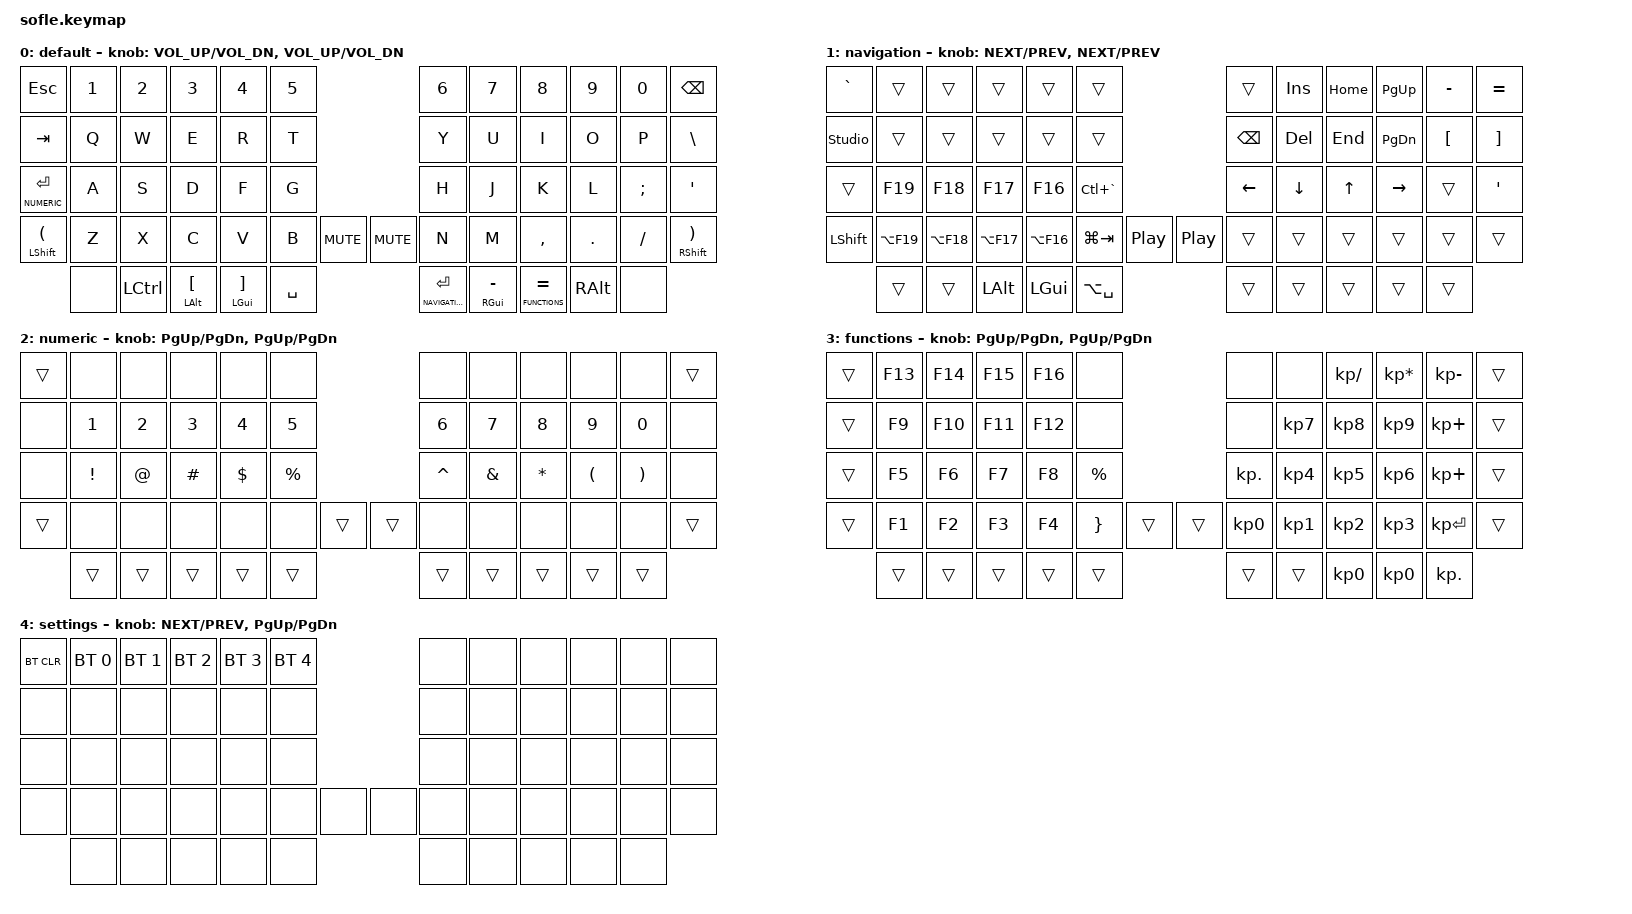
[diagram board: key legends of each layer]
/*
 * Copyright (c) 2020 The ZMK Contributors
 *
 * SPDX-License-Identifier: MIT
 */

#include <behaviors.dtsi>
#include <dt-bindings/zmk/keys.h>
#include <dt-bindings/zmk/bt.h>
#include <dt-bindings/zmk/rgb.h>
#include <dt-bindings/zmk/ext_power.h>

#define BASE 0
#define NAVIGATION 1
#define NUMERIC 2
#define FUNCTIONS 3
#define SETTINGS 4

/ {
     conditional_layers {
        compatible = "zmk,conditional-layers";
        adjust_layer {
            if-layers = <FUNCTIONS NAVIGATION>;
            then-layer = <SETTINGS>;
        };
    };

    keymap {
        compatible = "zmk,keymap";
        default_layer {
            display-name = "default";
            bindings = <
&kp ESC           &kp N1 &kp N2   &kp N3   &kp N4    &kp N5                                       &kp N6    &kp N7    &kp N8      &kp N9   &kp N0     &kp BSPC
&kp TAB           &kp Q  &kp W    &kp E    &kp R     &kp T                                        &kp Y     &kp U     &kp I       &kp O    &kp P      &kp BSLH
&lt NUMERIC RET   &kp A  &kp S    &kp D    &kp F     &kp G                                        &kp H     &kp J     &kp K       &kp L    &kp SEMI   &kp SQT
&mt LSHIFT LPAR   &kp Z  &kp X    &kp C    &kp V     &kp B      &kp C_MUTE   &kp C_MUTE           &kp N     &kp M     &kp COMMA   &kp DOT  &kp FSLH   &mt RSHIFT RPAR
             &none   &kp LCTRL   &mt LALT LBKT   &mt LGUI RBKT  &kp SPACE    &lt NAVIGATION RET  &mt RGUI MINUS  &lt FUNCTIONS EQUAL &kp RALT  &none
            >;
            sensor-bindings = <&inc_dec_kp C_VOL_UP C_VOL_DN &inc_dec_kp C_VOL_UP C_VOL_DN>;
        };

        navigation_layer {
            display-name = "navigation";
            bindings = <
&kp GRAVE       &trans       &trans       &trans       &trans       &trans                                &trans    &kp INS    &kp HOME   &kp PG_UP    &kp MINUS  &kp EQUAL
&studio_unlock  &trans       &trans       &trans       &trans       &trans                                &kp BSPC  &kp DEL    &kp END    &kp PG_DN    &kp LBKT   &kp RBKT
&trans          &kp F19      &kp F18      &kp F17      &kp F16      &kp LC(GRAVE)                         &kp LEFT  &kp DOWN   &kp UP     &kp RIGHT    &trans     &kp SQT
&kp LSHIFT      &kp LA(F19)  &kp LA(F18)  &kp LA(F17)  &kp LA(F16)  &kp LG(TAB)  &kp C_PP       &kp C_PP  &trans    &trans     &trans       &trans    &trans     &trans
                         &trans       &trans       &kp LALT       &kp LGUI       &kp LA(SPACE)  &trans    &trans    &trans    &trans   &trans
            >;
            sensor-bindings = <&inc_dec_kp C_NEXT C_PREV &inc_dec_kp C_NEXT C_PREV>;
        };

        numeric_layer {
            display-name = "numeric";
            bindings = <
&trans         &none        &none     &none       &none       &none                    &none       &none       &none       &none      &none      &trans
&none          &kp N1       &kp N2    &kp N3      &kp N4      &kp N5                   &kp N6      &kp N7      &kp N8      &kp N9     &kp N0     &none
&none          &kp EXCL     &kp AT    &kp HASH    &kp DLLR    &kp PRCNT                &kp CARET   &kp AMPS    &kp ASTRK   &kp LPAR   &kp RPAR   &none
&trans         &none        &none     &none       &none       &none   &trans  &trans   &none       &none       &none       &none      &none      &trans
                            &trans    &trans      &trans    &trans    &trans  &trans   &trans      &trans      &trans      &trans
            >;
            sensor-bindings = <&inc_dec_kp PG_UP PG_DN &inc_dec_kp PG_UP PG_DN>;
         };

        functions_layer {
            display-name = "functions";
            bindings = <
&trans         &kp F13   &kp F14    &kp F15      &kp F16    &none                       &none       &none       &kp KP_DIVIDE  &kp KP_MULTIPLY   &kp KP_MINUS   &trans
&trans         &kp F9    &kp F10    &kp F11      &kp F12    &none                       &none       &kp KP_N7   &kp KP_N8      &kp KP_N9         &kp KP_PLUS    &trans
&trans         &kp F5    &kp F6     &kp F7       &kp F8     &kp PRCNT                   &kp KP_DOT  &kp KP_N4   &kp KP_N5      &kp KP_N6         &kp KP_PLUS    &trans
&trans         &kp F1    &kp F2     &kp F3       &kp F4     &kp RBRC   &trans  &trans   &kp KP_N0   &kp KP_N1   &kp KP_N2      &kp KP_N3         &kp KP_ENTER   &trans
                            &trans    &trans      &trans    &trans     &trans  &trans   &trans      &kp KP_N0   &kp KP_N0      &kp KP_DOT
            >;
            sensor-bindings = <&inc_dec_kp PG_UP PG_DN &inc_dec_kp PG_UP PG_DN>;
         };

        settings_layer {
            display-name = "settings";
            bindings = <
&bt BT_CLR        &bt BT_SEL 0    &bt BT_SEL 1    &bt BT_SEL 2    &bt BT_SEL 3    &bt BT_SEL 4                    &none  &none  &none  &none  &none  &none
&none             &none           &none           &none           &none           &none                           &none  &none  &none  &none  &none  &none
&none             &none           &none           &none           &none           &none                           &none  &none  &none  &none  &none  &none
&none             &none           &none           &none           &none           &none           &none   &none   &none  &none  &none  &none  &none  &none
                                  &none           &none           &none           &none           &none   &none   &none  &none  &none  &none
            >;
            sensor-bindings = <&inc_dec_kp C_NEXT C_PREV &inc_dec_kp PG_UP PG_DN>;
       };
    };
};
